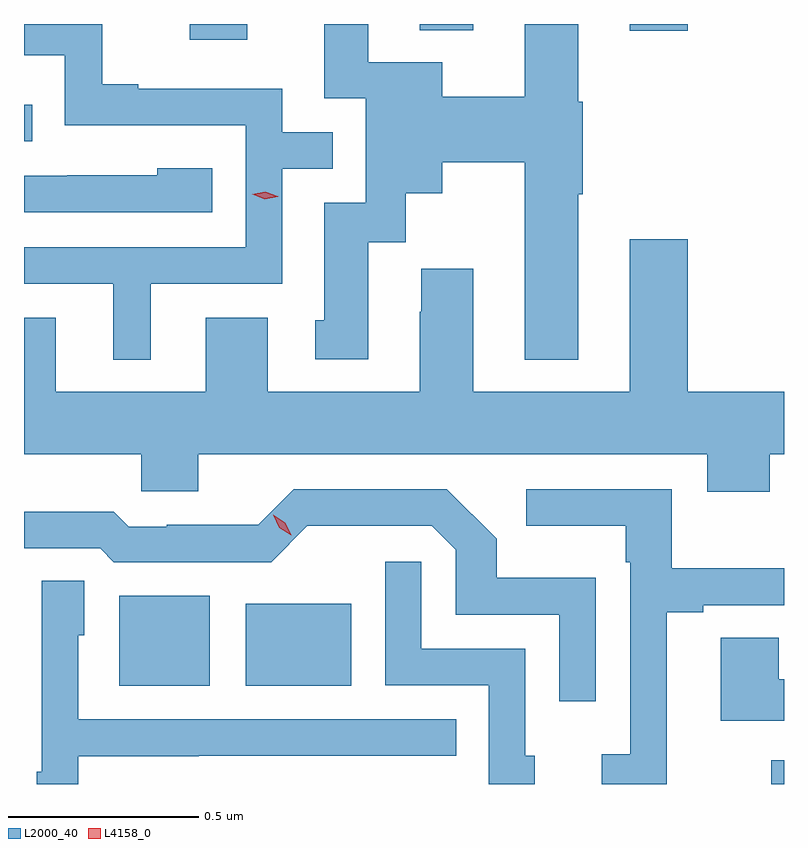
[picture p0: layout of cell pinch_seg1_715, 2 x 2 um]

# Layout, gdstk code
import gdstk
lib = gdstk.Library(unit=1e-6, precision=1e-09)
def R(c, l, rs):  # rectangles x0, y0, x1, y1
    for r in rs: c.add(gdstk.rectangle(r[:2], r[2:], *l))
def P(c, l, *ps):  # polygons
    for p in ps: c.add(gdstk.Polygon(p, *l))
L2000_40 = (2000, 40)
L4158_0 = (4158, 0)

pinch_seg1_715 = lib.new_cell('pinch_seg1_715')
R(pinch_seg1_715, L2000_40, [(756.887,574.84,756.921,574.903), (755.171,575.099,755.41,575.335), (755.504,575.099,755.782,575.314), (754.921,576.531,754.943,576.628), (755.357,576.798,755.509,576.84), (756.515,576.822,756.668,576.84), (755.963,576.824,756.103,576.84)])
P(pinch_seg1_715, L2000_40, [(756.379,576.392),(756.392,576.392),(756.392,576.636),(756.379,576.636),(756.379,576.84),(756.239,576.84),(756.239,576.648),(756.022,576.648),(756.022,576.739),(755.827,576.739),(755.827,576.84),(755.711,576.84),(755.711,576.645),(755.82,576.645),(755.82,576.369),(755.711,576.369),(755.711,576.06),(755.687,576.06),(755.687,575.958),(755.827,575.958),(755.827,576.266),(755.925,576.266),(755.925,576.395),(756.022,576.395),(756.022,576.476),(756.239,576.476),(756.239,575.957),(756.379,575.957)],
  [(755.254,576.156),(755.601,576.156),(755.601,576.459),(755.734,576.459),(755.734,576.555),(755.601,576.555),(755.601,576.669),(755.221,576.669),(755.221,576.682),(755.127,576.682),(755.127,576.84),(754.921,576.84),(754.921,576.758),(755.028,576.758),(755.028,576.573),(755.505,576.573),(755.505,576.252),(754.921,576.252),(754.921,576.156),(755.156,576.156),(755.156,575.957),(755.254,575.957)],
  [(755.416,576.46),(755.271,576.46),(755.271,576.442),(755.035,576.442),(755.035,576.441),(754.921,576.441),(754.921,576.345),(755.416,576.345)],
  [(756.719,575.609),(756.883,575.609),(756.883,575.708),(756.921,575.708),(756.921,575.872),(756.668,575.872),(756.668,576.274),(756.515,576.274),(756.515,575.872),(756.103,575.872),(756.103,576.196),(755.966,576.196),(755.966,576.083),(755.963,576.083),(755.963,575.872),(755.563,575.872),(755.563,576.067),(755.399,576.067),(755.399,575.872),(755.005,575.872),(755.005,576.067),(754.921,576.067),(754.921,575.708),(755.23,575.708),(755.23,575.61),(755.38,575.61),(755.38,575.708),(756.719,575.708)],
  [(756.426,575.383),(756.165,575.383),(756.165,575.486),(756.034,575.616),(755.631,575.616),(755.537,575.522),(755.296,575.522),(755.296,575.517),(755.196,575.517),(755.157,575.557),(754.921,575.557),(754.921,575.46),(755.121,575.46),(755.157,575.424),(755.571,575.424),(755.666,575.519),(755.77,575.519),(755.77,575.52),(755.994,575.52),(756.057,575.457),(756.057,575.286),(756.33,575.286),(756.33,575.058),(756.426,575.058)],
  [(756.613,575.292),(756.709,575.292),(756.709,575.31),(756.921,575.31),(756.921,575.408),(756.625,575.408),(756.625,575.616),(756.243,575.616),(756.243,575.519),(756.504,575.519),(756.504,575.423),(756.516,575.423),(756.516,574.918),(756.441,574.918),(756.441,574.84),(756.613,574.84)],
  [(756.265,574.914),(756.24,574.914),(756.24,575.196),(755.967,575.196),(755.967,575.425),(755.871,575.425),(755.871,575.1),(756.144,575.1),(756.144,574.84),(756.265,574.84)],
  [(755.064,574.913),(755.381,574.913),(755.381,574.914),(756.059,574.914),(756.059,575.01),(755.064,575.01),(755.064,575.232),(755.08,575.232),(755.08,575.375),(754.968,575.375),(754.968,574.872),(754.955,574.872),(754.955,574.84),(755.064,574.84)],
  [(756.921,575.116),(756.907,575.116),(756.907,575.225),(756.755,575.225),(756.755,575.006),(756.921,575.006)])
P(pinch_seg1_715, L4158_0, [(755.624,575.494),(755.593,575.515),(755.577,575.548),(755.577,575.549),(755.577,575.549),(755.608,575.528),(755.624,575.494),(755.624,575.494)],
  [(755.554,576.379),(755.521,576.392),(755.521,576.392),(755.521,576.392),(755.556,576.399),(755.589,576.387),(755.59,576.387),(755.589,576.386)])

lib.write_gds('pinch_seg1_715.gds')
